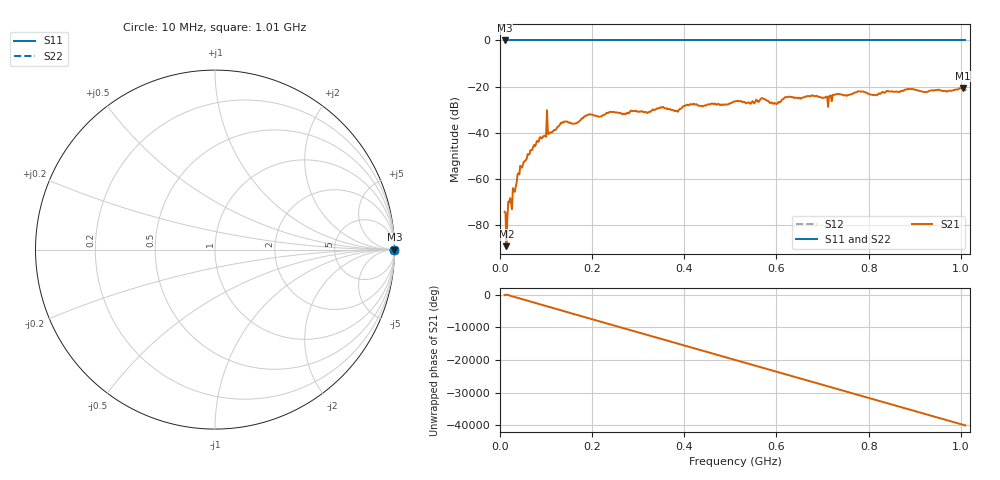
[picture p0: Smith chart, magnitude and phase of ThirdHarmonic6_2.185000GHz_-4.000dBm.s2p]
! 8/17/2025 2:03:16 AM
! C:\ANRITSUVNA\TEMP\TEMP.S2P
! CHANNEL.1
! TR.MEASUREMENT
! RAW.DATA
! RF.CORRECTION.OFF
! AVERAGING.OFF
! IF.BANDWIDTH: 5KHZ
! SWEEPTYPE:  FREQ.SWEEP(Linear)
! Reference Plane Port Info
! PORT:  PORT1  PORT2
! DISTANCE:  0  m  0  m
! TIME:  0  s  0  s
! PHASE.OFFSET:  0  deg.  0  deg.
! LOSS:  0  dB  0  dB
! REF.LOSS:  0  dB  0  dB
! REF.FREQ:  0  Hz  0  Hz
! Power Info
! POWER:  -20  dBm  -20  dBm
! EFF.POWER:  -20  dBm  -20  dBm
! SOURCE.ATTEN:  0  dB  0  dB
! TEST.ATTEN:  0  dB  0  dB
# GHZ S RI R 50.0
! FREQ.GHZ  S11RE  S11IM  S21RE  S21IM  S12RE  S12IM  S22RE  S22IM
!; PortSelection: Port_12
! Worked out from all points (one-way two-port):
!   501 points, 10 MHz to 1.01 GHz, reference 50 ohm
!   highest |S21| = -20.62 dB at 1.004 GHz (marker M1); lowest = -89.2 dB at 14 MHz (marker M2)
!   lowest |S11| = 0.0 dB at 10 MHz (marker M3)
!   |S11| at or under -10 dB: nowhere
!   |S22| runs from 0.0 to 0.0 dB; largest |S21 - S12| = 1.1
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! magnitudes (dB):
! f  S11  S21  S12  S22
! 10 MHz  0.0  -74.2  0.0  0.0
! 14 MHz  0.0  -89.2  0.0  0.0
! 28 MHz  0.0  -64.0  0.0  0.0
! 42 MHz  0.0  -58.1  0.0  0.0
! 70 MHz  0.0  -47.4  0.0  0.0
! 96 MHz  0.0  -41.3  0.0  0.0
! 98 MHz  0.0  -41.3  0.0  0.0
! 108 MHz  0.0  -40.0  0.0  0.0
! 178 MHz  0.0  -33.8  0.0  0.0
! 344 MHz  0.0  -29.5  0.0  0.0
! 382 MHz  0.0  -30.4  0.0  0.0
! 416 MHz  0.0  -27.8  0.0  0.0
! 510 MHz  0.0  -26.4  0.0  0.0
! 570 MHz  0.0  -25.1  0.0  0.0
! 598 MHz  0.0  -27.3  0.0  0.0
! 622 MHz  0.0  -24.5  0.0  0.0
! 678 MHz  0.0  -23.8  0.0  0.0
! 716 MHz  0.0  -24.0  0.0  0.0
! 732 MHz  0.0  -23.2  0.0  0.0
! 844 MHz  0.0  -22.1  0.0  0.0
! 1.004 GHz  0.0  -20.6  0.0  0.0
! 1.01 GHz  0.0  -21.4  0.0  0.0
